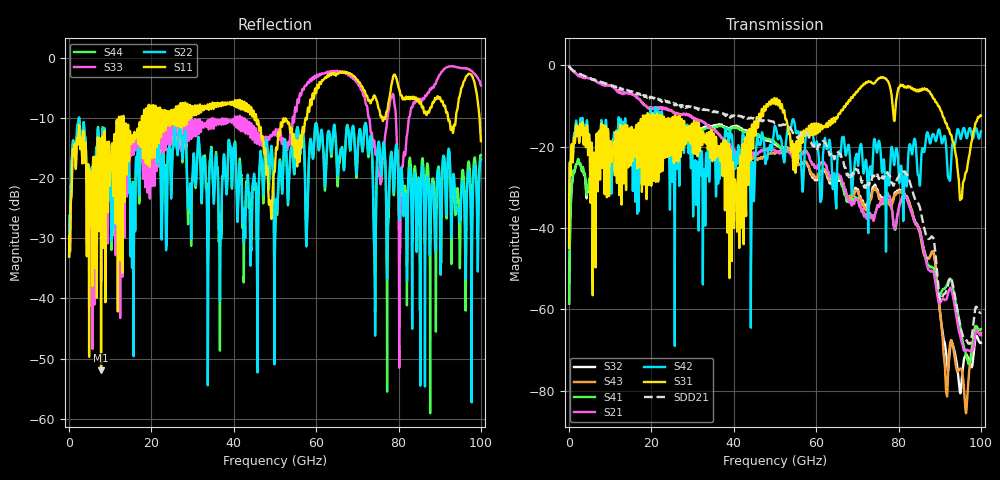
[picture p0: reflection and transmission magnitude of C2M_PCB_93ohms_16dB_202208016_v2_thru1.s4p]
! Info: Touchstone file created by Circ.  Input file=Intel_C2M_200G_5p0in_202208016_staggered.circ
# Hz S RI R 50
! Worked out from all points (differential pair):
!   10000 points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, 10 MHz to 100 GHz, reference 50 ohm
!   strongest paths, dB at 10 MHz, 25.01 GHz, 50.01 GHz, 75.01 GHz, 100 GHz:
!     S31: -44.9, -16.0, -8.7, -3.4, -12.4
!     S42: -44.9, -28.0, -14.9, -19.8, -16.3
!     S21: -0.2, -11.2, -21.1, -34.5, -66.4
!     S41: -58.6, -17.9, -19.0, -34.5, -64.9
!     S43: -0.2, -11.2, -21.7, -31.5, -65.8
!     S32: -58.6, -17.7, -19.4, -31.0, -68.3
!   taken as a pair (ports 1,3 in; 2,4 out), SDD21 dB: -0.2, -9.3, -14.2, -27.2, -60.8
!   lowest |S11| = -51.9 dB at 7.77 GHz (marker M1), VSWR 1.01, Z = 50 - j0.25 ohm
!   |S11| at or under -10 dB: start of sweep to 12.08 GHz; 13.27 GHz to 17.65 GHz (4.385 GHz wide, 28.4 % of centre); 45.46 GHz to 57.76 GHz (12.3 GHz wide, 23.8 % of centre)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
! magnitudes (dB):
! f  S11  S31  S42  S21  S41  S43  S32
! 10 MHz  -33.1  -44.9  -44.9  -0.2  -58.6  -0.2  -58.6
! 1.37 GHz  -14.5  -19.0  -16.7  -1.8  -26.0  -1.8  -26.0
! 7.77 GHz  -51.9  -14.5  -13.9  -4.5  -20.3  -4.6  -20.1
! 65.41 GHz  -2.6  -12.0  -21.9  -26.8  -27.4  -27.6  -28.1
! 80.62 GHz  -6.2  -4.8  -24.7  -33.2  -33.4  -31.3  -31.0
! 91.58 GHz  -9.1  -14.2  -20.2  -57.6  -54.4  -80.4  -71.0
! 100 GHz  -13.9  -12.4  -16.3  -66.4  -64.9  -65.8  -68.3
